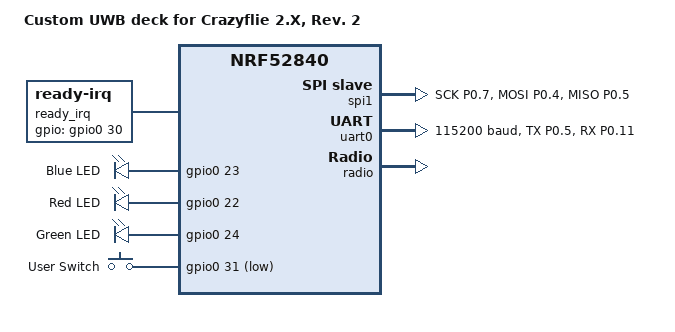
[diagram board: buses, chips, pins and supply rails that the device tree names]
/dts-v1/;
#include <nordic/nrf52840_qfaa.dtsi>
#include "uwbdeck-pinctrl.dtsi"

/ {
  model = "Custom UWB deck for Crazyflie 2.X, Rev. 2";
  compatible = "DS-CAU,uwbdeck";

  aliases {
    led0 = &led0;
    led1 = &led1;
    led2 = &led2;
    switch0 = &switch0;
    bt-hci = &radio;
  };

  chosen {
    zephyr,sram = &sram0;
    zephyr,flash = &flash0;
    zephyr,code-partition = &slot0_partition;

    zephyr,uart-mcumgr    = &uart0;
    zephyr,bt-mon-uart    = &uart0;
    zephyr,bt-c2h-uart    = &uart0;
    zephyr,ieee802154     = &ieee802154_uwb;
  };

  // `ready_irq` is the interrupt line that is triggered by the nRF
  // when new data is available. Exposed to the header.
  ready_irq: ready_irq {
    compatible = "ready-irq";
    gpios = <&gpio0 30 GPIO_ACTIVE_HIGH>; /* P0.30 */
  };


  // TODO: Reset between Header <-> nRF <-> DW1000 ?

  leds {
    compatible = "gpio-leds";
    led0: led0 {
      gpios = <&gpio0 23 GPIO_ACTIVE_HIGH>;
      label = "Blue LED";
    };
    led1: led1 {
      gpios = <&gpio0 22 GPIO_ACTIVE_HIGH>;
      label = "Red LED";
    };
    led2: led2 {
      gpios = <&gpio0 24 GPIO_ACTIVE_HIGH>;
      label = "Green LED";
    };
  };

  switches {
    compatible = "gpio-keys";
    switch0: switch0 {
      gpios = <&gpio0 31 GPIO_ACTIVE_LOW>;
      label = "User Switch";
    };
  };
};

&spi1 {
  compatible = "nordic,nrf-spis";
  status = "okay";
  cs-gpios = <&gpio0 1 GPIO_ACTIVE_LOW>; /* P0.01 */
  pinctrl-0 = <&spi1_default>;
  // pinctrl-1 = <&spi1_sleep>;
  // pinctrl-names = "default", "sleep";
  pinctrl-names = "default";
  def-char = <0xFF>;

  // crazyflie: crazyflie@0 {
  //   compatible = "vnd,spi-device";
  //   reg = <0>;
  //   spi-max-frequency = <1600000>;
  //   label = "crazyflie";
  // };
};


&uart0 {
	status = "okay";
	compatible = "nordic,nrf-uarte";
	current-speed = <115200>;
	pinctrl-0 = <&uart0_default>;
	pinctrl-1 = <&uart0_sleep>;
	pinctrl-names = "default", "sleep";
};

&uicr {
	gpio-as-nreset;
};

&spi2 {
  compatible = "nordic,nrf-spi";
 	//status = "okay";
  status = "disabled";
  cs-gpios = <&gpio0 3 GPIO_ACTIVE_LOW>; /* P0.03 */

  pinctrl-0 = <&spi2_default>;
  pinctrl-1 = <&spi2_sleep>;
  pinctrl-names = "default", "sleep";

  ieee802154_uwb: dw1000@0 {
    status = "okay";
    compatible = "decawave,dw1000";
    spi-max-frequency = <8000000>;
    reg = <0>;
    int-gpios = <&gpio0 29 GPIO_ACTIVE_HIGH>; /* P0.29 */
    reset-gpios = <&gpio0 2 GPIO_ACTIVE_LOW>;	/* P0.02 */
  };
};

&pinctrl {
  spi1_default: spi1_default {
    group1 {
      psels = <NRF_PSEL(SPIM_SCK,  0, 7)>,
              <NRF_PSEL(SPIM_MOSI, 0, 4)>,
              <NRF_PSEL(SPIM_MISO, 0, 5)>;
    };
  };
  spi1_sleep: spi1_sleep {
    group1 {
      psels = <NRF_PSEL(SPIM_SCK,  0, 7)>,
              <NRF_PSEL(SPIM_MOSI, 0, 4)>,
              <NRF_PSEL(SPIM_MISO, 0, 5)>;
      low-power-enable;
    };
  };
  spi2_default: spi2_default {
    group1 {
      psels = <NRF_PSEL(SPIM_SCK,  0, 17)>,
              <NRF_PSEL(SPIM_MOSI, 0, 13)>,
              <NRF_PSEL(SPIM_MISO, 0, 14)>;
    };
  };
  spi2_sleep: spi2_sleep {
    group1 {
      psels = <NRF_PSEL(SPIM_SCK,  0, 17)>,
              <NRF_PSEL(SPIM_MOSI, 0, 13)>,
              <NRF_PSEL(SPIM_MISO, 0, 14)>;
      low-power-enable;
    };
  };
  uart0_default: uart0_default {
    group1 {
      psels = <NRF_PSEL(UART_TX, 0, 5)>,
              <NRF_PSEL(UART_RX, 0, 11)>;
    };
  };
  uart0_sleep: uart0_sleep {
    group1 {
      psels = <NRF_PSEL(UART_TX, 0, 5)>,
              <NRF_PSEL(UART_RX, 0, 11)>;
	low-power-enable;
   };
  };
};

&qspi {
  status = "disabled";
};

&gpio0 {
  status = "okay";
};

&gpio1 {
	status = "okay";
};

&gpiote {
  status = "okay";
};

&radio {
  status = "okay";
};

&flash0 {
  partitions {
    compatible = "fixed-partitions";
    #address-cells = <1>;
    #size-cells = <1>;

    boot_partition: partition@0 {
      label = "mcuboot";
      reg = <0x00000000 DT_SIZE_K(48)>;
    };

    slot0_partition: partition@c000 {
      label = "image-0";
      reg = <0x0000c000 DT_SIZE_K(472)>;
    };

    slot1_partition: partition@82000 {
      label = "image-1";
      reg = <0x00082000 DT_SIZE_K(472)>;
    };

    storage_partition: partition@f8000 {
      label = "storage";
      reg = <0x000f8000 DT_SIZE_K(32)>;
    };
  };
};
